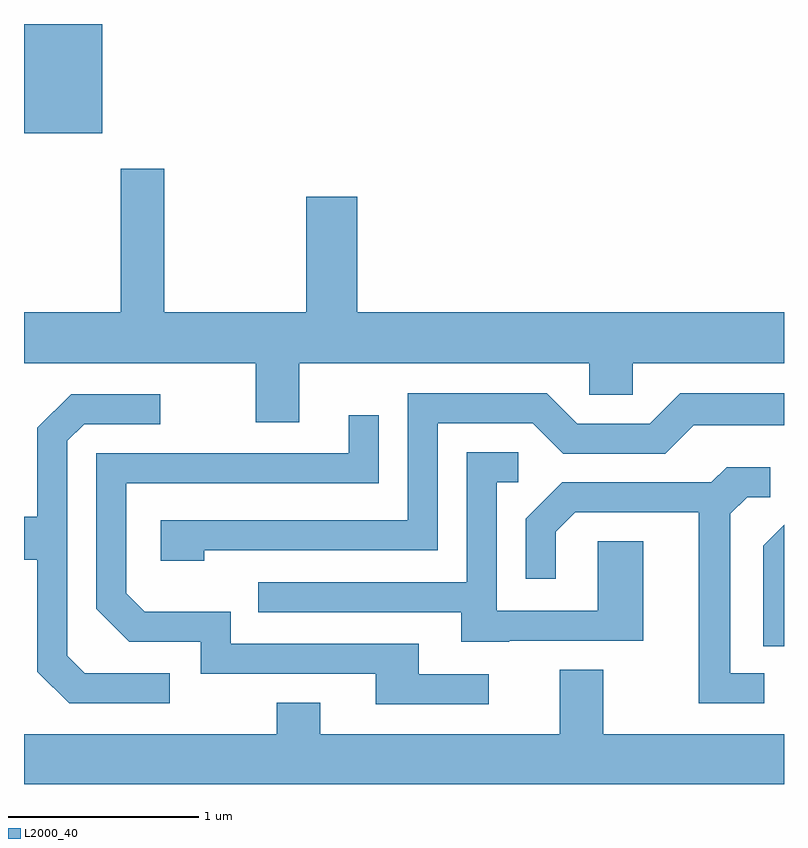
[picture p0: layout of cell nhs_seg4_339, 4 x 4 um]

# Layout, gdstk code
import gdstk
lib = gdstk.Library(unit=1e-6, precision=1e-09)
def R(c, l, rs):  # rectangles x0, y0, x1, y1
    for r in rs: c.add(gdstk.rectangle(r[:2], r[2:], *l))
def P(c, l, *ps):  # polygons
    for p in ps: c.add(gdstk.Polygon(p, *l))
L2000_40 = (2000, 40)

nhs_seg4_339 = lib.new_cell('nhs_seg4_339')
R(nhs_seg4_339, L2000_40, [(193.611,1391.406,194.024,1391.982)])
P(nhs_seg4_339, L2000_40, [(195.059,1390.196),(196.586,1390.196),(196.586,1390.031),(196.814,1390.031),(196.814,1390.196),(197.611,1390.196),(197.611,1390.464),(195.364,1390.464),(195.364,1391.074),(195.096,1391.074),(195.096,1390.464),(194.349,1390.464),(194.349,1391.219),(194.121,1391.219),(194.121,1390.464),(193.611,1390.464),(193.611,1390.196),(194.831,1390.196),(194.831,1389.886),(195.059,1389.886)],
  [(194.559,1389.211),(195.789,1389.211),(195.789,1389.881),(196.289,1389.881),(196.449,1389.721),(196.987,1389.721),(197.137,1389.871),(197.611,1389.871),(197.611,1390.039),(197.064,1390.039),(196.904,1389.879),(196.522,1389.879),(196.362,1390.039),(195.631,1390.039),(195.631,1389.369),(194.331,1389.369),(194.331,1389.156),(194.559,1389.156)],
  [(194.378,1388.564),(193.932,1388.564),(193.839,1388.657),(193.839,1389.789),(193.927,1389.876),(194.328,1389.876),(194.328,1390.034),(193.859,1390.034),(193.681,1389.857),(193.681,1389.389),(193.611,1389.389),(193.611,1389.161),(193.681,1389.161),(193.681,1388.574),(193.849,1388.406),(194.378,1388.406)],
  [(196.058,1388.559),(195.689,1388.559),(195.689,1388.719),(194.699,1388.719),(194.699,1388.889),(194.247,1388.889),(194.149,1388.987),(194.149,1389.566),(195.479,1389.566),(195.479,1389.923),(195.321,1389.923),(195.321,1389.724),(193.991,1389.724),(193.991,1388.904),(194.164,1388.731),(194.541,1388.731),(194.541,1388.561),(195.461,1388.561),(195.461,1388.401),(196.058,1388.401)],
  [(196.165,1388.736),(196.869,1388.736),(196.869,1389.259),(196.631,1389.259),(196.631,1388.894),(196.099,1388.894),(196.099,1389.571),(196.213,1389.571),(196.213,1389.729),(195.941,1389.729),(195.941,1389.044),(194.843,1389.044),(194.843,1388.886),(195.911,1388.886),(195.911,1388.731),(196.165,1388.731)],
  [(197.508,1388.564),(197.329,1388.564),(197.329,1389.404),(197.417,1389.491),(197.538,1389.491),(197.538,1389.649),(197.309,1389.649),(197.229,1389.569),(196.444,1389.569),(196.251,1389.377),(196.251,1389.063),(196.409,1389.063),(196.409,1389.309),(196.512,1389.411),(197.161,1389.411),(197.161,1388.406),(197.508,1388.406)],
  [(197.611,1389.347),(197.501,1389.237),(197.501,1388.708),(197.611,1388.708)],
  [(197.611,1388.244),(196.659,1388.244),(196.659,1388.584),(196.431,1388.584),(196.431,1388.244),(195.169,1388.244),(195.169,1388.409),(194.941,1388.409),(194.941,1388.244),(193.611,1388.244),(193.611,1387.982),(197.611,1387.982)])

lib.write_gds('nhs_seg4_339.gds')
